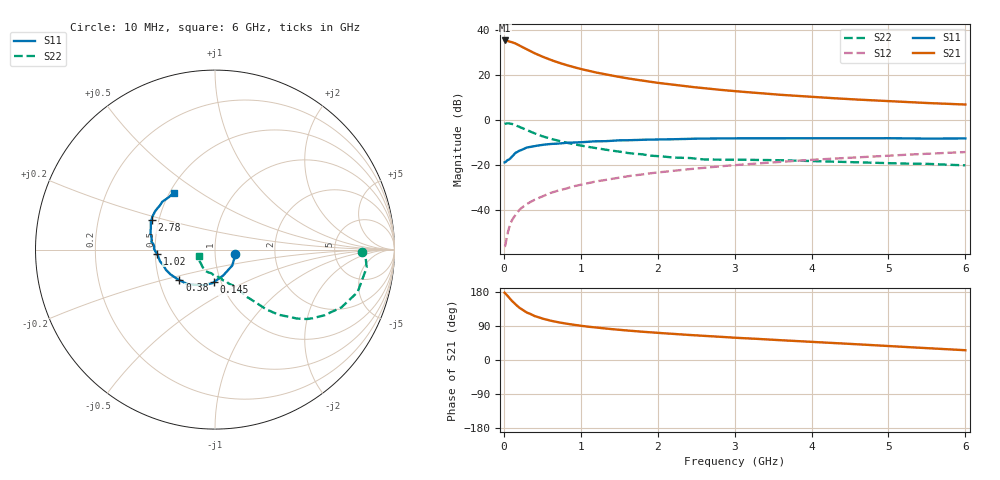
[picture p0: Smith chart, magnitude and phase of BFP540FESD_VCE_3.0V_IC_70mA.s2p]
! Infineon Technologies  Discrete & RF Semiconductors
! BFP540FESD
! VCE =  3.0 V,  IC =  70 mA
! Common Emitter S-Parameters:  Nov 2015
# GHz  S  MA  R  50
!  f  S11  S21  S12  S22
! GHz  MAG  ANG  MAG  ANG  MAG  ANG  MAG  ANG
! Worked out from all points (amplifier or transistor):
!   210 points, 10 MHz to 6 GHz, reference 50 ohm
!   highest |S21| = 35.3 dB at 10 MHz (marker M1)
!   |S21| within 3 dB of that: start of sweep to 245 MHz
!   unconditionally stable (mu >= 1): start of sweep to 38.77 MHz; 977.1 MHz to end of sweep
!   at 185 MHz: K = 0.59, MSG = 37.0 dB, |S12| = -40.5 dB
!   at 1.52 GHz: K = 1.06, MAG = 20.7 dB, |S12| = -25.4 dB
!   at 6 GHz: K = 1.19, MAG = 7.9 dB, |S12| = -14.2 dB
!   S11 on the Smith chart (normalised r, x): 10 MHz: 1.25, -0.06; 145 MHz: 0.92, -0.35; 380 MHz: 0.64, -0.23; 1.02 GHz: 0.51, -0.03; 2.78 GHz: 0.46, +0.18; 6 GHz: 0.53, +0.39
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0.01  0.1153 -11.9  58.39 177.5  0.0016 122.1  0.8184 -0.8
0.02  0.118 -23.7  56.95 175.7  0.0017 107.3  0.8341 -0.1
0.05  0.1307 -42.6  56.87 168.7  0.0031 82.9  0.8511 -6.7
0.1  0.1511 -72.2  53.99 157.0  0.0058 80.4  0.8291 -16.6
0.145  0.1827 -92.5  50.44 148.1  0.0076 80.1  0.7795 -23.7
0.2  0.2085 -107.6  45.36 138.2  0.0101 77.1  0.7109 -31.0
0.24  0.2217 -117.4  41.76 132.7  0.0116 75.6  0.6637 -35.2
0.3  0.2469 -129.1  37.01 125.1  0.0137 74.0  0.5976 -40.0
0.38  0.2611 -139.3  31.66 118.1  0.0164 72.9  0.5256 -44.3
0.4  0.2658 -141.7  30.41 116.0  0.0171 72.7  0.5082 -45.6
0.5  0.2838 -150.9  25.59 109.2  0.0203 73.5  0.4388 -49.4
0.6  0.2955 -157.5  21.84 104.1  0.024 73.3  0.3885 -51.5
0.8  0.3133 -168.0  16.86 96.1  0.03 73.3  0.3183 -56.0
1.02  0.3239 -176.0  13.37 89.8  0.0376 72.0  0.2694 -59.0
1.2  0.3397 179.1  11.37 85.6  0.0437 71.2  0.2394 -62.3
1.5  0.3565 173.1  9.068 79.7  0.0529 69.6  0.2003 -68.7
2.02  0.3747 163.5  6.648 71.3  0.0694 66.3  0.1585 -81.8
2.78  0.3905 154.8  4.75 61.6  0.0937 61.7  0.1326 -100.3
3.1  0.3944 151.7  4.251 57.8  0.1033 59.4  0.1321 -106.7
4.1  0.395 144.6  3.196 46.8  0.1345 52.9  0.1224 -121.7
5.1  0.3949 136.5  2.587 35.8  0.1664 44.6  0.1097 -136.1
6  0.3919 125.8  2.214 25.8  0.1955 37.0  0.0992 -157.6
